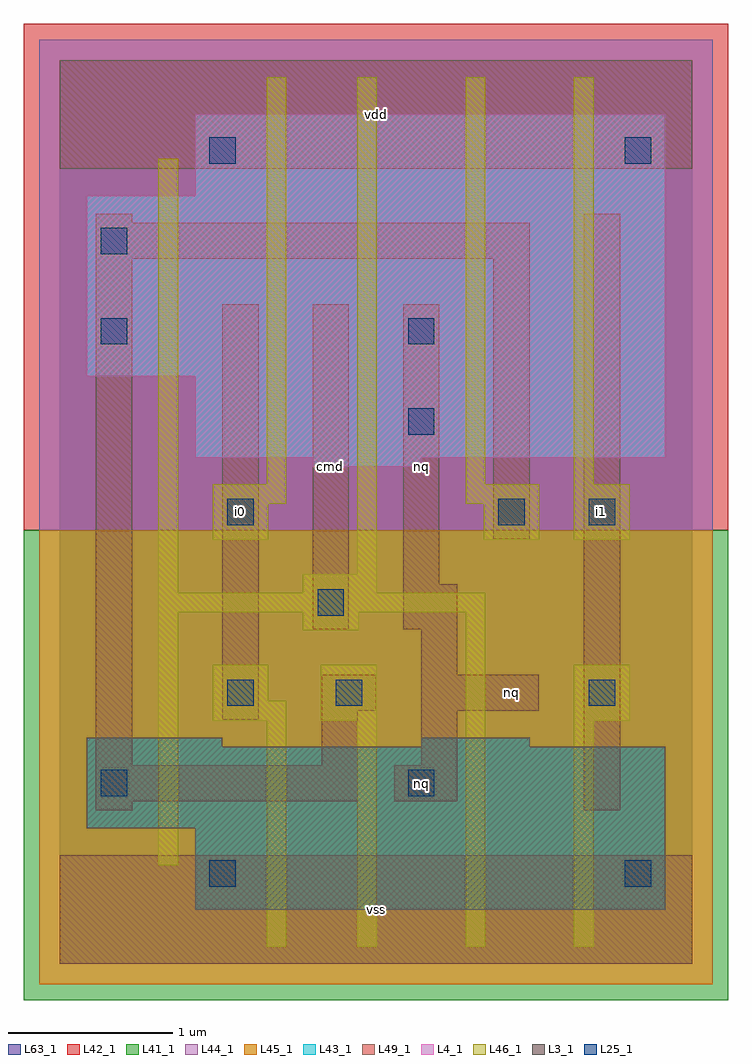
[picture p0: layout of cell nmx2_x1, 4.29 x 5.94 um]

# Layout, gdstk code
import gdstk
lib = gdstk.Library(unit=1e-6, precision=1e-09)
def R(c, l, rs):  # rectangles x0, y0, x1, y1
    for r in rs: c.add(gdstk.rectangle(r[:2], r[2:], *l))
L3_1 = (3, 1)
L4_1 = (4, 1)
L25_1 = (25, 1)
L41_1 = (41, 1)
L42_1 = (42, 1)
L43_1 = (43, 1)
L44_1 = (44, 1)
L45_1 = (45, 1)
L46_1 = (46, 1)
L49_1 = (49, 1)
L63_1 = (63, 1)

nmx2_x1 = lib.new_cell('nmx2_x1')
R(nmx2_x1, L3_1, [(0.825,0.33,3.685,0.825), (0.165,0.825,3.685,1.32), (0.165,1.32,0.99,1.375), (2.2,1.32,2.86,1.375)])
R(nmx2_x1, L4_1, [(1.54,3.025,2.2,3.08), (0.825,3.08,3.685,3.575), (0.165,3.575,3.685,4.675), (0.825,4.675,3.685,5.17)])
R(nmx2_x1, L25_1, [(0.91,0.47,1.07,0.63), (3.44,0.47,3.6,0.63), (0.25,1.02,0.41,1.18), (2.12,1.02,2.28,1.18), (1.02,1.57,1.18,1.73), (1.68,1.57,1.84,1.73), (3.22,1.57,3.38,1.73), (1.57,2.12,1.73,2.28), (1.02,2.67,1.18,2.83), (2.67,2.67,2.83,2.83), (3.22,2.67,3.38,2.83), (2.12,3.22,2.28,3.38), (0.25,3.77,0.41,3.93), (2.12,3.77,2.28,3.93), (0.25,4.32,0.41,4.48), (0.91,4.87,1.07,5.03), (3.44,4.87,3.6,5.03)])
R(nmx2_x1, L41_1, [(-0.22,-0.22,4.07,2.64)])
R(nmx2_x1, L42_1, [(-0.22,2.64,4.07,5.72)])
R(nmx2_x1, L43_1, [(0.825,0.33,3.685,0.825), (0.165,0.825,3.685,1.32), (0.165,1.32,0.99,1.375), (2.2,1.32,2.86,1.375), (1.54,3.025,2.2,3.08), (0.825,3.08,3.685,3.575), (0.165,3.575,3.685,4.675), (0.825,4.675,3.685,5.17)])
R(nmx2_x1, L44_1, [(-0.125,2.64,3.975,5.625)])
R(nmx2_x1, L45_1, [(-0.125,-0.125,3.975,2.64)])
R(nmx2_x1, L46_1, [(1.26,0.105,1.38,1.48), (1.81,0.105,1.93,1.48), (2.47,0.105,2.59,2.14), (3.13,0.105,3.25,1.48), (0.6,0.6,0.72,2.14), (0.93,1.48,1.38,1.6), (1.59,1.48,1.93,1.82), (3.13,1.48,3.47,1.82), (0.93,1.6,1.27,1.82), (1.48,2.03,1.82,2.14), (0.6,2.14,2.59,2.26), (0.6,2.26,0.72,4.9), (1.48,2.26,1.93,2.37), (1.81,2.37,1.93,5.395), (0.93,2.58,1.27,2.8), (2.58,2.58,2.92,2.8), (3.13,2.58,3.47,2.92), (0.93,2.8,1.38,2.92), (2.47,2.8,2.92,2.92), (1.26,2.92,1.38,5.395), (2.47,2.92,2.59,5.395), (3.13,2.92,3.25,5.395)])
R(nmx2_x1, L49_1, [(0,0,3.85,0.66), (0.22,0.935,0.44,0.99), (3.19,0.935,3.41,4.565), (0.22,0.99,1.815,1.21), (2.035,0.99,2.42,1.21), (0.22,1.21,0.44,4.29), (1.595,1.21,1.815,1.54), (2.2,1.21,2.42,1.54), (0.99,1.485,1.21,4.015), (1.595,1.54,1.925,1.76), (2.2,1.54,2.915,1.76), (2.2,1.76,2.42,2.035), (1.54,2.035,1.76,4.015), (2.09,2.035,2.42,2.31), (2.09,2.31,2.31,4.015), (2.64,2.585,2.86,4.29), (0.22,4.29,2.86,4.51), (0.22,4.51,0.44,4.565), (0,4.84,3.85,5.5)])
R(nmx2_x1, L63_1, [(0,0,3.85,5.5)])
nmx2_x1.add(gdstk.Label('i0', (1.1,2.75), layer=49, texttype=1))
nmx2_x1.add(gdstk.Label('cmd', (1.65,3.025), layer=49, texttype=1))
nmx2_x1.add(gdstk.Label('vss', (1.925,0.33), layer=49, texttype=1))
nmx2_x1.add(gdstk.Label('nq', (2.2,1.1), layer=49, texttype=1))
nmx2_x1.add(gdstk.Label('nq', (2.75,1.65), layer=49, texttype=1))
nmx2_x1.add(gdstk.Label('nq', (2.2,3.025), layer=49, texttype=1))
nmx2_x1.add(gdstk.Label('vdd', (1.925,5.17), layer=49, texttype=1))
nmx2_x1.add(gdstk.Label('i1', (3.3,2.75), layer=49, texttype=1))

lib.write_gds('nmx2_x1.gds')
